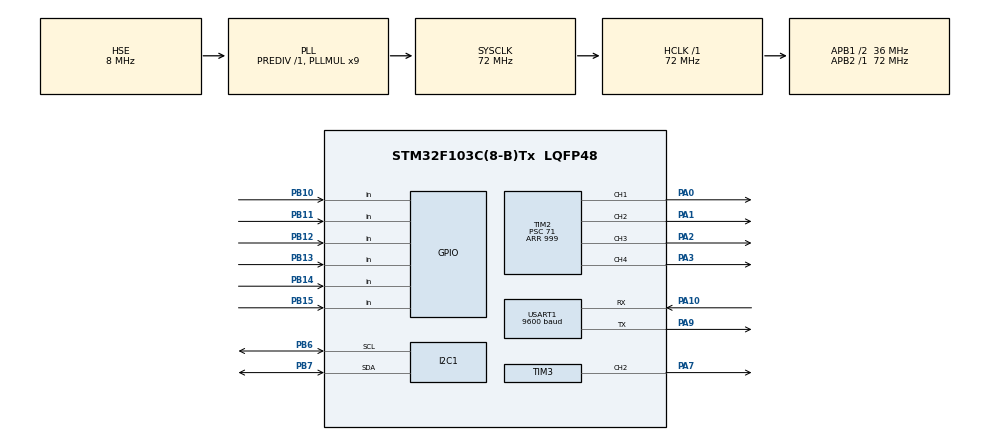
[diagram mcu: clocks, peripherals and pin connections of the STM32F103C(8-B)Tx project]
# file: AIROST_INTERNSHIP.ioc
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Mcu.Family=STM32F1
Mcu.Name=STM32F103C(8-B)Tx
Mcu.Package=LQFP48
NVIC.PriorityGroup=NVIC_PRIORITYGROUP_4
NVIC.USART1_IRQn=true\:0\:0\:false\:false\:true\:true\:true\:true
PA0-WKUP.Signal=S_TIM2_CH1_ETR
PA1.Signal=S_TIM2_CH2
PA10.Mode=Asynchronous
PA10.Signal=USART1_RX
PA13.Mode=Serial_Wire
PA13.Signal=SYS_JTMS-SWDIO
PA14.Mode=Serial_Wire
PA14.Signal=SYS_JTCK-SWCLK
PA2.Signal=S_TIM2_CH3
PA3.Signal=S_TIM2_CH4
PA7.Signal=S_TIM3_CH2
PA9.Mode=Asynchronous
PA9.Signal=USART1_TX
PB10.Signal=GPIO_Input
PB11.Signal=GPIO_Input
PB12.Signal=GPIO_Input
PB13.Signal=GPIO_Input
PB14.Signal=GPIO_Input
PB15.Signal=GPIO_Input
PB6.Mode=I2C
PB6.Signal=I2C1_SCL
PB7.Mode=I2C
PB7.Signal=I2C1_SDA
PD0-OSC_IN.Mode=HSE-External-Oscillator
PD0-OSC_IN.Signal=RCC_OSC_IN
PD1-OSC_OUT.Mode=HSE-External-Oscillator
PD1-OSC_OUT.Signal=RCC_OSC_OUT
ProjectManager.HeapSize=0x200
ProjectManager.StackSize=0x400
ProjectManager.TargetToolchain=STM32CubeIDE
RCC.AHBFreq_Value=72000000
RCC.APB1CLKDivider=RCC_HCLK_DIV2
RCC.APB1Freq_Value=36000000
RCC.APB1TimFreq_Value=72000000
RCC.APB2Freq_Value=72000000
RCC.APB2TimFreq_Value=72000000
RCC.HCLKFreq_Value=72000000
RCC.PLLMUL=RCC_PLL_MUL9
RCC.PLLSourceVirtual=RCC_PLLSOURCE_HSE
RCC.SYSCLKFreq_VALUE=72000000
RCC.SYSCLKSource=RCC_SYSCLKSOURCE_PLLCLK
RCC.USBFreq_Value=72000000
SH.S_TIM2_CH1_ETR.0=TIM2_CH1,PWM Generation1 CH1
SH.S_TIM2_CH2.0=TIM2_CH2,PWM Generation2 CH2
SH.S_TIM2_CH3.0=TIM2_CH3,PWM Generation3 CH3
SH.S_TIM2_CH4.0=TIM2_CH4,PWM Generation4 CH4
SH.S_TIM3_CH2.0=TIM3_CH2,PWM Generation2 CH2
TIM2.Channel-PWM\ Generation1\ CH1=TIM_CHANNEL_1
TIM2.Channel-PWM\ Generation2\ CH2=TIM_CHANNEL_2
TIM2.Channel-PWM\ Generation3\ CH3=TIM_CHANNEL_3
TIM2.Channel-PWM\ Generation4\ CH4=TIM_CHANNEL_4
TIM2.Period=999
TIM2.Prescaler=71
TIM3.Channel-PWM\ Generation2\ CH2=TIM_CHANNEL_2
TIM3.Period=19999
TIM3.Prescaler=71
USART1.BaudRate=9600
USART1.VirtualMode=VM_ASYNC
board=custom

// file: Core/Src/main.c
/* USER CODE BEGIN Header */
/* Blue Pill (STM32F103C8T6) + mini L298N (no ENA/ENB pins) + Bluetooth BT-06
 * WASD control over Bluetooth serial. STM32CubeIDE + HAL.
 *
 * HOW THE MINI L298N IS DRIVEN (no enable pins):
 *   Speed is done by putting PWM directly on the IN pins.
 *     forward : IN_A = PWM, IN_B = 0
 *     reverse : IN_A = 0,   IN_B = PWM
 *     stop    : both 0
 *
 * ---------- WIRING ----------
 *   PA0 -> IN1   (left motor)
 *   PA1 -> IN2   (left motor)
 *   PA2 -> IN3   (right motor)
 *   PA3 -> IN4   (right motor)
 *   Motor driver GND -> Blue Pill GND (common ground)
 *   Motor battery    -> driver motor power input
 *
 *   BT-06 TXD -> PA10 (USART1 RX)
 *   BT-06 RXD -> PA9  (USART1 TX)
 *   BT-06 VCC -> 5V,  BT-06 GND -> GND
 *
 * ---------- CubeMX SETTINGS (must match for this file to work) ----------
 *   SYS    : Debug = Serial Wire
 *   RCC    : HSE = Crystal/Ceramic Resonator, 72 MHz clock (HCLK 72, APB1 36)
 *   TIM2   : Clock Source = Internal Clock
 *            CH1, CH2, CH3, CH4 = PWM Generation  (PA0, PA1, PA2, PA3)
 *            Prescaler = 71, Counter Period = 999   (1 kHz PWM, duty 0-999)
 *   USART1 : Asynchronous, 9600 baud, 8N1 (PA9 TX, PA10 RX)
 *            NVIC: USART1 global interrupt = Enabled
 *   Project Manager: generate code, then replace main.c with this file.
 *
 * ---------- KEYS (send one character via a Bluetooth serial terminal) ----------
 *   W = forward     S = backward     A = turn left     D = turn right
 *   X = stop
 *   1-9 = speed (1 slowest, 9 fastest)
 *   ? = show help. Manual movement times out after 1 seconds without a new command.
 *   N = Line Following ONLY
 *   L = Line Logging
 *   M = Basic Map Loop
 *   T/K = Show KP KD value
 *
 *   --------------------------Tuning Keys-------------------------------------------
 *  	Junction counting (primary method)
 *  KC	=  Straight-ahead time at a corner before pivoting
 *  KJ	=  Straight-ahead time after counting the target branch,
 *  	   before pivoting into it
 *  KC and KJ are timed straight-ahead drives, so they’re technically time-based.
 *  They sit in this group because the junction-counting method needs them,
 *  whether or not the backup is enabled.
 *
 *  	Time-based (backup for the counting)
 *  KA	=  Expected time from the end of the 2nd corner to the first branch bar
 *  KB	=  Expected time between branch bars
 *  KW	=  ± window around each expected time
 *
 *
 */
/**
  ******************************************************************************
  * @file           : main.c
  * @brief          : Main program body
  ******************************************************************************
  * @attention
  *
  * Copyright (c) 2026 STMicroelectronics.
  * All rights reserved.
  *
  * This software is licensed under terms that can be found in the LICENSE file
  * in the root directory of this software component.
  * If no LICENSE file comes with this software, it is provided AS-IS.
  *
  ******************************************************************************
  */
/* USER CODE END Header */
#include "main.h"

/* USER CODE BEGIN Includes */
#include <stdlib.h>
#include <string.h>
#include <stdio.h>
#include "bluetooth.h"
#include "colour.h"
#include "line_following.h"
#include "mission.h"
#include "motor.h"
#include "servo_claw.h"
/* USER CODE END Includes */

/* USER CODE BEGIN PD */
#define CMD_TIMEOUT_MS     1000U /* auto-stop manual movement after 1 s */

/* USER CODE END PD */

I2C_HandleTypeDef hi2c1;

TIM_HandleTypeDef htim2;
TIM_HandleTypeDef htim3;

UART_HandleTypeDef huart1;

/* USER CODE BEGIN PV */
static char cmd = 'X';
static int speed = 750;                 /* 0-999 */
static uint32_t lastCmdTime = 0;
static uint8_t autoMode = 0;           /* 1 = Basic Map Loop; 2 = Line Follow only */
static uint8_t colourReady = 0;

/* USER CODE END PV */

void SystemClock_Config(void);
static void MX_GPIO_Init(void);
static void MX_TIM2_Init(void);
static void MX_USART1_UART_Init(void);
static void MX_TIM3_Init(void);
static void MX_I2C1_Init(void);

/* USER CODE BEGIN 0 */

//Colour Debug
#define COLOUR_DEBUG 0
#define COLOUR_REPORT_MS 500U

static void colourDebugTick(void)
{
#if COLOUR_DEBUG
    static uint32_t lastReport = 0;
    uint32_t now = HAL_GetTick();

    if (!colourReady) return;

    if ((now - lastReport) < COLOUR_REPORT_MS)
        return;

    lastReport = now;

    ColourData_t raw;

    if (ColourSensor_ReadRaw(&raw) != HAL_OK)
    {
        btPrint("[COLOUR] READ ERROR\r\n");
        return;
    }

    DetectedColour_t detected = ColourSensor_GetColour();

    const char *name = "UNKNOWN";

    if (detected == COLOUR_RED)
        name = "RED";
    else if (detected == COLOUR_GREEN)
        name = "GREEN";
    else if (detected == COLOUR_BLUE)
        name = "BLUE";

    char msg[100];

    snprintf(msg, sizeof(msg),
             "[COLOUR] R:%u G:%u B:%u C:%u | %s\r\n",
             (unsigned)raw.r,
             (unsigned)raw.g,
             (unsigned)raw.b,
             (unsigned)raw.c,
             name);

    btPrint(msg);
#endif
}

/*Bluetooth Keybind command*/
static void handleBtCommand(char c)
{
    static char rx_buf[32];
    static uint8_t rx_idx = 0;
    static uint8_t debugMode = 0; // 0 = OFF (Locked), 1 = ON (Unlocked)
    const char *motion = NULL;
    char line[90];

    // 1. Check for end of line (Enter / Newline sent from phone app)
    if (c == '\r' || c == '\n')
    {
        if (rx_idx == 0) return; // Ignore empty newlines
        rx_buf[rx_idx] = '\0';   // Null-terminate string
        rx_idx = 0;              // Reset buffer index for next command

        // Block multi-character tuning/status commands if Debug Mode is OFF
        if (!debugMode)
        {
            btPrint("[LOCKED] Send 'T' to enable Debug Mode first\r\n");
            return;
        }

        char prefix = rx_buf[0];

        // --- Status Command ('v' or 'V') ---
        if (prefix == 'v' || prefix == 'V')
        {
            char msg[120];
            sprintf(msg, "[STATUS] Margin:%.2f | Rmin:%.2f | Gmin:%.2f | Bmin:%.2f | Bmax:%.2f | RGdiff:%.2f\r\n",
                    tuning_red_margin, tuning_red_min, tuning_green_min, tuning_blue_min, tuning_blue_max, tuning_rg_diff);
            btPrint(msg);
            return;
        }

        // --- Direct Value Tuning (e.g. m0.10, o0.62, r0.40) ---
        char *endptr = NULL;
        float val = strtof(&rx_buf[1], &endptr);
        if (endptr != &rx_buf[1] && *endptr == '\0')
        {
            char msg[60];
            switch (prefix)
            {
                case 'm': case 'M':
                    tuning_red_margin = val;
                    sprintf(msg, "[TUNE] Red Margin set to %.2f\r\n", tuning_red_margin);
                    break;
                case 'r': case 'R':
                    tuning_red_min = val;
                    sprintf(msg, "[TUNE] Red Min set to %.2f\r\n", tuning_red_min);
                    break;
                case 'g': case 'G':
                    tuning_green_min = val;
                    sprintf(msg, "[TUNE] Green Min set to %.2f\r\n", tuning_green_min);
                    break;
                case 'b': case 'B':
                    tuning_blue_min = val;
                    sprintf(msg, "[TUNE] Blue Min set to %.2f\r\n", tuning_blue_min);
                    break;
                case 'o': case 'O':
                    tuning_blue_max = val;
                    sprintf(msg, "[TUNE] Blue Max set to %.2f\r\n", tuning_blue_max);
                    break;
                case 'p': case 'P':
                    tuning_rg_diff = val;
                    sprintf(msg, "[TUNE] RG Diff set to %.2f\r\n", tuning_rg_diff);
                    break;
                default:
                    btPrint("[ERR] Unknown letter prefix\r\n");
                    return;
            }
            btPrint(msg);
            return;
        }

        btPrint("[ERR] Format error. Use letter + value (e.g., m0.10, o0.62)\r\n");
        return;
    }

    // 2. Accumulate normal characters into buffer until newline arrives
    if (rx_idx < sizeof(rx_buf) - 1)
    {
        rx_buf[rx_idx++] = c;
    }
    else
    {
        rx_idx = 0; // Overflow safety reset
        btPrint("[ERR] Command string too long\r\n");
        return;
    }

    // 3. Instant Single-Character Commands
    if (rx_idx == 1)
    {
        // --- Explicit Debug Mode Control ('T' = ON, 't' = OFF) ---
        if (c == 'T')
        {
            debugMode = 1;
            btPrint("[DEBUG] ON - PID & Colour tuning unlocked\r\n");
            rx_idx = 0;
            return;
        }
        if (c == 't')
        {
            debugMode = 0;
            btPrint("[DEBUG] OFF - Tuning locked\r\n");
            rx_idx = 0;
            return;
        }

        // --- Debug-Only Single-Char Commands (PID Tuning, Color Cal, Color Test) ---
        if (debugMode)
        {
            if (pidTuneKey(c)) { rx_idx = 0; return; }

            if (c == 'c' || c == 'C')
            {
                ColourSensor_CalibrateWhite();
                btPrint("[CAL] White Calibrated\r\n");
                rx_idx = 0;
                return;
            }

            if (c == 'z' || c == 'Z')
            {
                ColourData_t raw;
                if (ColourSensor_ReadRaw(&raw) == HAL_OK)
                {
                    float rR = (raw.c > 0) ? (float)raw.r / raw.c : 0;
                    float gR = (raw.c > 0) ? (float)raw.g / raw.c : 0;
                    float bR = (raw.c > 0) ? (float)raw.b / raw.c : 0;
                    char msg[80];
                    sprintf(msg, "[RATIOS] R:%.2f G:%.2f B:%.2f C:%u\r\n", rR, gR, bR, raw.c);
                    btPrint(msg);

                    DetectedColour_t det = ColourSensor_GetColour();
                    if (det == COLOUR_RED) btPrint("-> RED\r\n");
                    else if (det == COLOUR_GREEN) btPrint("-> GREEN\r\n");
                    else if (det == COLOUR_BLUE) btPrint("-> BLUE\r\n");
                    else btPrint("-> UNKNOWN\r\n");
                }
                rx_idx = 0;
                return;
            }
        }
        else
        {
            if (c == 'c' || c == 'C' || c == 'z' || c == 'Z')
            {
                btPrint("[LOCKED] Send 'T' to enable Debug Mode\r\n");
                rx_idx = 0;
                return;
            }
        }

        // --- Standard Driving & Mission Commands (Always Available) ---
        if (c >= '1' && c <= '9')
        {
            speed = 300 + (c - '1') * 87;  /* 1..9 -> 300..996 */
            lastCmdTime = HAL_GetTick();
            snprintf(line, sizeof(line), "[SPEED] PWM = %d / 999\r\n", speed);
            btPrint(line);
            rx_idx = 0;
            return;
        }
        if (c == 'M') { autoMode = 1; missionStart(); btPrint("[MODE] MISSION STARTS\r\n"); rx_idx = 0; return; }
        if (c == 'N' || c == 'n') { autoMode = 2; lineFollowReset(); btPrint("[MODE] LINE FOLLOW ONLY\r\n"); rx_idx = 0; return; }
        if (c == 'X' || c == 'x' || c == ' ') { autoMode = 0; cmd = 'X'; stopMotors(); btPrint("[MOTOR] STOP\r\n"); rx_idx = 0; return; }
        if (c == '?' || c == 'H' || c == 'h') { btPrint("[HELP] W/S/A/D move; X stop; 1-9 speed; T/t debug on/off; (Debug: m/r/g/b/o/p+val, v, c, z)\r\n"); rx_idx = 0; return; }
        if (c == 'F' || c == 'f') { Claw_Open(); btPrint("[CLAW] OPEN\r\n"); rx_idx = 0; return; }
        if (c == 'G') { Claw_Close(); btPrint("[CLAW] CLOSE\r\n"); rx_idx = 0; return; }
        if (c == 'L' || c == 'l') { autoMode = 0; cmd = 'X'; stopMotors(); lineLogDump(); rx_idx = 0; return; }

        // Movement (W/A/S/D) - executes immediately on keystroke
        if (c == 'W' || c == 'w') motion = "FORWARD";
        else if (c == 'S' || c == 's') motion = "BACKWARD";
        else if (c == 'A' || c == 'a') motion = "LEFT";
        else if (c == 'D' || c == 'd') motion = "RIGHT";

        if (motion != NULL)
        {
            autoMode = 0;
            cmd = c;
            lastCmdTime = HAL_GetTick();
            snprintf(line, sizeof(line), "[MOTOR] %s | Speed: %d\r\n", motion, speed);
            btPrint(line);
            rx_idx = 0;
        }
    }
}
/* USER CODE END 0 */

int main(void)
{

  /* MCU Configuration--------------------------------------------------------*/

  /* Reset of all peripherals, Initializes the Flash interface and the Systick. */
  HAL_Init();

  /* Configure the system clock */
  SystemClock_Config();

  /* Initialize all configured peripherals */
  MX_GPIO_Init();
  MX_TIM2_Init();
  MX_USART1_UART_Init();
  MX_TIM3_Init();
  MX_I2C1_Init();
  /* USER CODE BEGIN 2 */
  HAL_TIM_PWM_Start(&htim2, TIM_CHANNEL_1);
  HAL_TIM_PWM_Start(&htim2, TIM_CHANNEL_2);
  HAL_TIM_PWM_Start(&htim2, TIM_CHANNEL_3);
  HAL_TIM_PWM_Start(&htim2, TIM_CHANNEL_4);
  stopMotors();

    lastCmdTime = HAL_GetTick();
    if (Bluetooth_Start() != HAL_OK)
    {
        Error_Handler();
    }

    /* start listening to Bluetooth */
  btPrint("[STM32] Ready. Send ? for help.\r\n");

  	//Claw
    if (Claw_Init(&htim3) != HAL_OK)
    {
        Error_Handler();
    }

    //Colour Sensor
    if (ColourSensor_Init(&hi2c1) == HAL_OK)
    {
        colourReady = 1;
        btPrint("[COLOUR] INIT OK\r\n");
    }
    else
    {
        btPrint("[COLOUR] INIT FAILED\r\n");
    }
  /* USER CODE END 2 */

  /* Infinite loop */
  while (1)
  {

    /* USER CODE BEGIN 3 */
    uint8_t received;
    while (btPop(&received))
    {
      handleBtCommand((char)received);
    }
    lineLogTick();

    if (autoMode == 1) //Basic Map Loop
        {
          if (!missionTick(speed))
          {
            autoMode = 0;
            cmd = 'X';
            btPrint("[MODE] MANUAL - W/A/S/D drive, F/G claw\r\n");
          }
        }
    else if (autoMode == 2) //Line Following
    {
    	lineFollow(speed);
    }
    else
    {
      if (cmd != 'X' && cmd != 'x' && cmd != ' ' &&
          HAL_GetTick() - lastCmdTime >= CMD_TIMEOUT_MS)
      {
        cmd = 'X';
        stopMotors();
        btPrint("[SAFETY] Manual command timeout: STOP\r\n");
      }
      switch (cmd)
      {
        case 'W': case 'w': forward(speed);   break;
        case 'S': case 's': backward(speed);  break;
        case 'A': case 'a': turnLeft(speed);  break;
        case 'D': case 'd': turnRight(speed); break;
        default: stopMotors(); break;
      }
      colourDebugTick();
    }

  }
  /* USER CODE END 3 */
}

void SystemClock_Config(void)
{
  RCC_OscInitTypeDef RCC_OscInitStruct = {0};
  RCC_ClkInitTypeDef RCC_ClkInitStruct = {0};

  /** Initializes the RCC Oscillators according to the specified parameters
  * in the RCC_OscInitTypeDef structure.
  */
  RCC_OscInitStruct.OscillatorType = RCC_OSCILLATORTYPE_HSE;
  RCC_OscInitStruct.HSEState = RCC_HSE_ON;
  RCC_OscInitStruct.HSEPredivValue = RCC_HSE_PREDIV_DIV1;
  RCC_OscInitStruct.HSIState = RCC_HSI_ON;
  RCC_OscInitStruct.PLL.PLLState = RCC_PLL_ON;
  RCC_OscInitStruct.PLL.PLLSource = RCC_PLLSOURCE_HSE;
  RCC_OscInitStruct.PLL.PLLMUL = RCC_PLL_MUL9;
  if (HAL_RCC_OscConfig(&RCC_OscInitStruct) != HAL_OK)
  {
    Error_Handler();
  }

  /** Initializes the CPU, AHB and APB buses clocks
  */
  RCC_ClkInitStruct.ClockType = RCC_CLOCKTYPE_HCLK|RCC_CLOCKTYPE_SYSCLK
                              |RCC_CLOCKTYPE_PCLK1|RCC_CLOCKTYPE_PCLK2;
  RCC_ClkInitStruct.SYSCLKSource = RCC_SYSCLKSOURCE_PLLCLK;
  RCC_ClkInitStruct.AHBCLKDivider = RCC_SYSCLK_DIV1;
  RCC_ClkInitStruct.APB1CLKDivider = RCC_HCLK_DIV2;
  RCC_ClkInitStruct.APB2CLKDivider = RCC_HCLK_DIV1;

  if (HAL_RCC_ClockConfig(&RCC_ClkInitStruct, FLASH_LATENCY_2) != HAL_OK)
  {
    Error_Handler();
  }
}

static void MX_I2C1_Init(void)
{

  hi2c1.Instance = I2C1;
  hi2c1.Init.ClockSpeed = 100000;
  hi2c1.Init.DutyCycle = I2C_DUTYCYCLE_2;
  hi2c1.Init.OwnAddress1 = 0;
  hi2c1.Init.AddressingMode = I2C_ADDRESSINGMODE_7BIT;
  hi2c1.Init.DualAddressMode = I2C_DUALADDRESS_DISABLE;
  hi2c1.Init.OwnAddress2 = 0;
  hi2c1.Init.GeneralCallMode = I2C_GENERALCALL_DISABLE;
  hi2c1.Init.NoStretchMode = I2C_NOSTRETCH_DISABLE;
  if (HAL_I2C_Init(&hi2c1) != HAL_OK)
  {
    Error_Handler();
  }

}

static void MX_TIM2_Init(void)
{

  TIM_MasterConfigTypeDef sMasterConfig = {0};
  TIM_OC_InitTypeDef sConfigOC = {0};

  htim2.Instance = TIM2;
  htim2.Init.Prescaler = 71;
  htim2.Init.CounterMode = TIM_COUNTERMODE_UP;
  htim2.Init.Period = 999;
  htim2.Init.ClockDivision = TIM_CLOCKDIVISION_DIV1;
  htim2.Init.AutoReloadPreload = TIM_AUTORELOAD_PRELOAD_DISABLE;
  if (HAL_TIM_PWM_Init(&htim2) != HAL_OK)
  {
    Error_Handler();
  }
  sMasterConfig.MasterOutputTrigger = TIM_TRGO_RESET;
  sMasterConfig.MasterSlaveMode = TIM_MASTERSLAVEMODE_DISABLE;
  if (HAL_TIMEx_MasterConfigSynchronization(&htim2, &sMasterConfig) != HAL_OK)
  {
    Error_Handler();
  }
  sConfigOC.OCMode = TIM_OCMODE_PWM1;
  sConfigOC.Pulse = 0;
  sConfigOC.OCPolarity = TIM_OCPOLARITY_HIGH;
  sConfigOC.OCFastMode = TIM_OCFAST_DISABLE;
  if (HAL_TIM_PWM_ConfigChannel(&htim2, &sConfigOC, TIM_CHANNEL_1) != HAL_OK)
  {
    Error_Handler();
  }
  if (HAL_TIM_PWM_ConfigChannel(&htim2, &sConfigOC, TIM_CHANNEL_2) != HAL_OK)
  {
    Error_Handler();
  }
  if (HAL_TIM_PWM_ConfigChannel(&htim2, &sConfigOC, TIM_CHANNEL_3) != HAL_OK)
  {
    Error_Handler();
  }
  if (HAL_TIM_PWM_ConfigChannel(&htim2, &sConfigOC, TIM_CHANNEL_4) != HAL_OK)
  {
    Error_Handler();
  }
  HAL_TIM_MspPostInit(&htim2);

}

static void MX_TIM3_Init(void)
{

  TIM_MasterConfigTypeDef sMasterConfig = {0};
  TIM_OC_InitTypeDef sConfigOC = {0};

  htim3.Instance = TIM3;
  htim3.Init.Prescaler = 71;
  htim3.Init.CounterMode = TIM_COUNTERMODE_UP;
  htim3.Init.Period = 19999;
  htim3.Init.ClockDivision = TIM_CLOCKDIVISION_DIV1;
  htim3.Init.AutoReloadPreload = TIM_AUTORELOAD_PRELOAD_DISABLE;
  if (HAL_TIM_PWM_Init(&htim3) != HAL_OK)
  {
    Error_Handler();
  }
  sMasterConfig.MasterOutputTrigger = TIM_TRGO_RESET;
  sMasterConfig.MasterSlaveMode = TIM_MASTERSLAVEMODE_DISABLE;
  if (HAL_TIMEx_MasterConfigSynchronization(&htim3, &sMasterConfig) != HAL_OK)
  {
    Error_Handler();
  }
  sConfigOC.OCMode = TIM_OCMODE_PWM1;
  sConfigOC.Pulse = 0;
  sConfigOC.OCPolarity = TIM_OCPOLARITY_HIGH;
  sConfigOC.OCFastMode = TIM_OCFAST_DISABLE;
  if (HAL_TIM_PWM_ConfigChannel(&htim3, &sConfigOC, TIM_CHANNEL_2) != HAL_OK)
  {
    Error_Handler();
  }
  HAL_TIM_MspPostInit(&htim3);

}

static void MX_USART1_UART_Init(void)
{

  huart1.Instance = USART1;
  huart1.Init.BaudRate = 9600;
  huart1.Init.WordLength = UART_WORDLENGTH_8B;
  huart1.Init.StopBits = UART_STOPBITS_1;
  huart1.Init.Parity = UART_PARITY_NONE;
  huart1.Init.Mode = UART_MODE_TX_RX;
  huart1.Init.HwFlowCtl = UART_HWCONTROL_NONE;
  huart1.Init.OverSampling = UART_OVERSAMPLING_16;
  if (HAL_UART_Init(&huart1) != HAL_OK)
  {
    Error_Handler();
  }

}

static void MX_GPIO_Init(void)
{
  GPIO_InitTypeDef GPIO_InitStruct = {0};

  /* GPIO Ports Clock Enable */
  __HAL_RCC_GPIOD_CLK_ENABLE();
  __HAL_RCC_GPIOA_CLK_ENABLE();
  __HAL_RCC_GPIOB_CLK_ENABLE();

  /*Configure GPIO pins : PB10 PB11 PB12 PB13
                           PB14 PB15 */
  GPIO_InitStruct.Pin = GPIO_PIN_10|GPIO_PIN_11|GPIO_PIN_12|GPIO_PIN_13
                          |GPIO_PIN_14|GPIO_PIN_15;
  GPIO_InitStruct.Mode = GPIO_MODE_INPUT;
  GPIO_InitStruct.Pull = GPIO_NOPULL;
  HAL_GPIO_Init(GPIOB, &GPIO_InitStruct);

}

void Error_Handler(void)
{
  __disable_irq();
  while (1)
  {
  }
}
